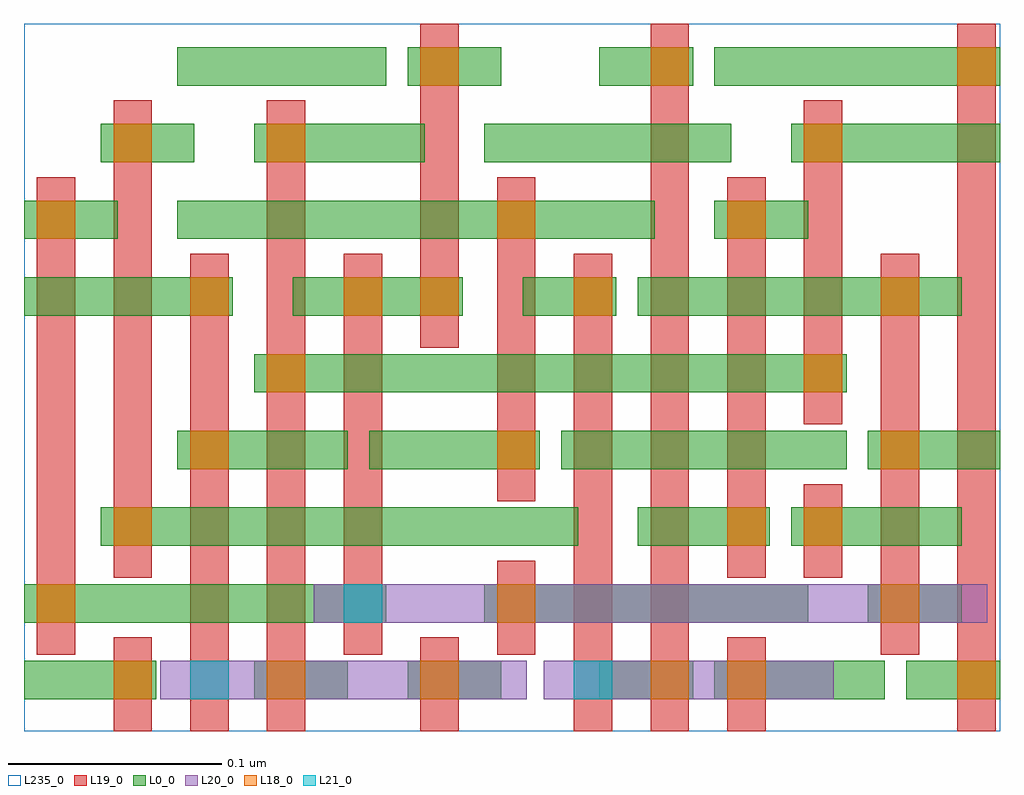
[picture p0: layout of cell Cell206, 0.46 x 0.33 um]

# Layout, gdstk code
import gdstk
lib = gdstk.Library(unit=1e-6, precision=2.5e-10)
def R(c, l, rs):  # rectangles x0, y0, x1, y1
    for r in rs: c.add(gdstk.rectangle(r[:2], r[2:], *l))
def A(c, l, x, y, w, h, nx, ny, dx, dy):  # array of equal rectangles
    R(c, l, [(x+i*dx, y+j*dy, x+i*dx+w, y+j*dy+h) for i in range(nx) for j in range(ny)])
L0_0 = (0, 0)
L18_0 = (18, 0)
L19_0 = (19, 0)
L20_0 = (20, 0)
L21_0 = (21, 0)
L235_0 = (235, 0)

cell206 = lib.new_cell('Cell206')
R(cell206, L0_0, [(0.004,-0.001,0.066,0.017), (0.112,-0.001,0.156,0.017), (0.184,-0.001,0.228,0.017), (0.274,-0.001,0.318,0.017), (0.328,-0.001,0.408,0.017), (0.418,-0.001,0.462,0.017), (0.004,0.035,0.174,0.053), (0.22,0.035,0.372,0.053), (0.4,0.035,0.444,0.053), (0.04,0.071,0.264,0.089), (0.292,0.071,0.354,0.089), (0.364,0.071,0.444,0.089), (0.076,0.107,0.156,0.125), (0.166,0.107,0.246,0.125), (0.256,0.107,0.39,0.125), (0.4,0.107,0.462,0.125), (0.112,0.143,0.39,0.161), (0.004,0.179,0.102,0.197), (0.13,0.179,0.21,0.197), (0.238,0.179,0.282,0.197), (0.292,0.179,0.444,0.197), (0.004,0.215,0.048,0.233), (0.076,0.215,0.3,0.233), (0.328,0.215,0.372,0.233), (0.04,0.251,0.084,0.269), (0.112,0.251,0.192,0.269), (0.22,0.251,0.336,0.269), (0.364,0.251,0.462,0.269), (0.076,0.287,0.174,0.305), (0.184,0.287,0.228,0.305), (0.274,0.287,0.318,0.305), (0.328,0.287,0.462,0.305)])
A(cell206, L18_0, 0.046, -0.001, 0.018, 0.018, 3, 1, 0.072, 0)
A(cell206, L18_0, 0.406, 0.035, 0.018, 0.018, 1, 3, 0, 0.072)
R(cell206, L18_0, [(0.298,-0.001,0.316,0.017), (0.334,-0.001,0.352,0.017), (0.442,-0.001,0.46,0.017), (0.01,0.035,0.028,0.053), (0.226,0.035,0.244,0.053), (0.046,0.071,0.064,0.089), (0.334,0.071,0.352,0.089), (0.37,0.071,0.388,0.089), (0.082,0.107,0.1,0.125), (0.226,0.107,0.244,0.125), (0.118,0.143,0.136,0.161), (0.37,0.143,0.388,0.161), (0.082,0.179,0.1,0.197), (0.154,0.179,0.172,0.197), (0.19,0.179,0.208,0.197), (0.262,0.179,0.28,0.197), (0.01,0.215,0.028,0.233), (0.226,0.215,0.244,0.233), (0.334,0.215,0.352,0.233), (0.046,0.251,0.064,0.269), (0.118,0.251,0.136,0.269), (0.37,0.251,0.388,0.269), (0.19,0.287,0.208,0.305), (0.298,0.287,0.316,0.305), (0.442,0.287,0.46,0.305)])
A(cell206, L19_0, 0.046, -0.016, 0.018, 0.044, 3, 1, 0.144, 0)
R(cell206, L19_0, [(0.082,-0.016,0.1,0.208), (0.118,-0.016,0.136,0.28), (0.262,-0.016,0.28,0.208), (0.298,-0.016,0.316,0.316), (0.442,-0.016,0.46,0.316), (0.01,0.02,0.028,0.244), (0.154,0.02,0.172,0.208), (0.226,0.02,0.244,0.064), (0.406,0.02,0.424,0.208), (0.046,0.056,0.064,0.28), (0.334,0.056,0.352,0.244), (0.37,0.056,0.388,0.1), (0.226,0.092,0.244,0.244), (0.37,0.128,0.388,0.28), (0.19,0.164,0.208,0.316)])
R(cell206, L20_0, [(0.068,-0.001,0.24,0.017), (0.248,-0.001,0.384,0.017), (0.14,0.035,0.456,0.053)])
R(cell206, L21_0, [(0.082,-0.001,0.1,0.017), (0.262,-0.001,0.28,0.017), (0.154,0.035,0.172,0.053)])
R(cell206, L235_0, [(0.004,-0.016,0.462,0.316)])

lib.write_gds('Cell206.gds')
